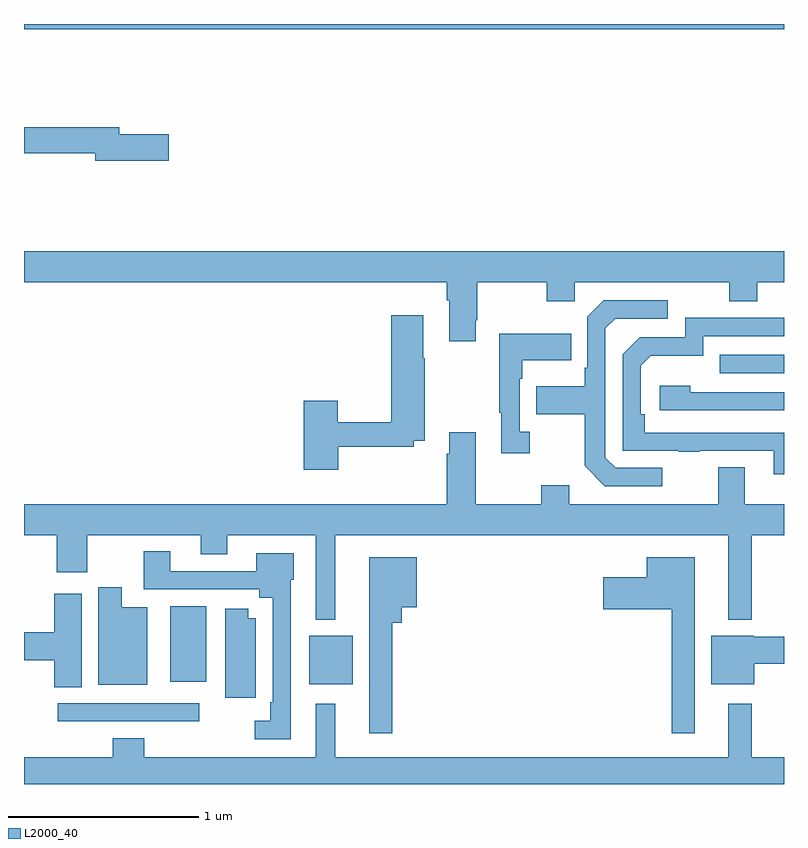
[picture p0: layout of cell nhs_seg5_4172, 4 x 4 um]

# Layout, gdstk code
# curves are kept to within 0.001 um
import gdstk
lib = gdstk.Library(unit=1e-6, precision=1e-09)
def R(c, l, rs):  # rectangles x0, y0, x1, y1
    for r in rs: c.add(gdstk.rectangle(r[:2], r[2:], *l))
def P(c, l, *ps):  # polygons
    for p in ps: c.add(gdstk.Polygon(p, *l))
L2000_40 = (2000, 40)

nhs_seg5_4172 = lib.new_cell('nhs_seg5_4172')
R(nhs_seg5_4172, L2000_40, [(357.177,841.128,357.922,841.224), (358.502,841.325,358.729,841.579), (357.77,841.337,357.958,841.735), (360.661,842.961,361,843.057), (357,844.772,361,844.799)])
P(nhs_seg5_4172, L2000_40, [(357.763,844.22),(357.502,844.22),(357.502,844.256),(357,844.256),(357,844.12),(357.374,844.12),(357.374,844.078),(357.763,844.078)],
  [(359.377,843.241),(359.385,843.241),(359.385,843.44),(359.752,843.44),(359.752,843.341),(359.898,843.341),(359.898,843.44),(360.712,843.44),(360.712,843.341),(360.859,843.341),(360.859,843.44),(361,843.44),(361,843.604),(357,843.604),(357,843.44),(359.225,843.44),(359.225,843.344),(359.237,843.344),(359.237,843.129),(359.377,843.129)],
  [(360.358,842.463),(360.114,842.463),(360.06,842.517),(360.06,843.198),(360.111,843.249),(360.388,843.249),(360.388,843.345),(360.051,843.345),(359.964,843.258),(359.964,842.989),(359.952,842.989),(359.952,842.893),(359.695,842.893),(359.695,842.746),(359.952,842.746),(359.952,842.473),(360.057,842.367),(360.358,842.367)],
  [(358.655,842.574),(359.052,842.574),(359.052,842.606),(359.109,842.606),(359.109,843.041),(359.101,843.041),(359.101,843.265),(358.934,843.265),(358.934,842.702),(358.65,842.702),(358.65,842.815),(358.472,842.815),(358.472,842.454),(358.655,842.454)],
  [(361,842.648),(360.266,842.649),(360.266,842.746),(360.246,842.746),(360.246,843),(360.299,843.053),(360.576,843.053),(360.576,843.156),(361,843.156),(361,843.252),(360.48,843.252),(360.48,843.15),(360.24,843.15),(360.15,843.06),(360.15,842.553),(360.445,842.553),(360.445,842.548),(360.557,842.548),(360.557,842.553),(360.947,842.553),(360.947,842.43),(361,842.43)],
  [(359.662,842.654),(359.61,842.654),(359.61,842.933),(359.623,842.933),(359.623,843.029),(359.879,843.029),(359.879,843.169),(359.502,843.169),(359.502,842.753),(359.513,842.753),(359.513,842.541),(359.662,842.541)],
  [(361,842.862),(360.506,842.862),(360.506,842.896),(360.345,842.896),(360.345,842.766),(361,842.766)],
  [(358.639,842.108),(360.707,842.108),(360.707,841.664),(360.829,841.664),(360.829,842.108),(361,842.108),(361,842.272),(360.793,842.272),(360.793,842.467),(360.653,842.467),(360.653,842.272),(359.869,842.272),(359.869,842.371),(359.722,842.371),(359.722,842.272),(359.377,842.272),(359.377,842.65),(359.237,842.65),(359.237,842.537),(359.225,842.537),(359.225,842.272),(357,842.272),(357,842.108),(357.173,842.108),(357.173,841.914),(357.333,841.914),(357.333,842.108),(357.929,842.108),(357.929,842.009),(358.069,842.009),(358.069,842.108),(358.535,842.108),(358.535,841.664),(358.639,841.664)],
  [(358.404,841.675),(358.405,841.675),(358.405,841.875),(358.42,841.875),(358.42,842.014),(358.223,842.014),(358.223,841.92),(357.769,841.92),(357.769,842.023),(357.629,842.023),(357.629,841.824),(358.238,841.824),(358.238,841.778),(358.308,841.778),(358.308,841.228),(358.296,841.228),(358.296,841.131),(358.215,841.131),(358.215,841.035),(358.404,841.035)],
  [(360.529,841.993),(360.278,841.993),(360.278,841.888),(360.048,841.888),(360.048,841.718),(360.408,841.718),(360.408,841.065),(360.529,841.065)],
  [(358.939,841.649),(358.988,841.649),(358.988,841.73),(359.068,841.73),(359.068,841.993),(358.817,841.993),(358.817,841.065),(358.939,841.065)],
  [(357.649,841.729),(357.514,841.729),(357.514,841.834),(357.392,841.834),(357.392,841.322),(357.649,841.322)],
  [(357.304,841.801),(357.158,841.801),(357.158,841.598),(357,841.598),(357,841.451),(357.158,841.451),(357.158,841.309),(357.304,841.309)],
  [(358.219,841.672),(358.18,841.672),(358.18,841.721),(358.058,841.721),(358.058,841.254),(358.219,841.254)],
  [(360.844,841.432),(361,841.432),(361,841.574),(360.84,841.574),(360.84,841.579),(360.617,841.579),(360.617,841.325),(360.844,841.325)],
  [(361,840.94),(360.829,840.94),(360.829,841.222),(360.707,841.222),(360.707,840.94),(358.639,840.94),(358.639,841.222),(358.535,841.222),(358.535,840.94),(357.632,840.94),(357.632,841.039),(357.467,841.039),(357.467,840.94),(357,840.94),(357,840.799),(361,840.799)])

lib.write_gds('nhs_seg5_4172.gds')
